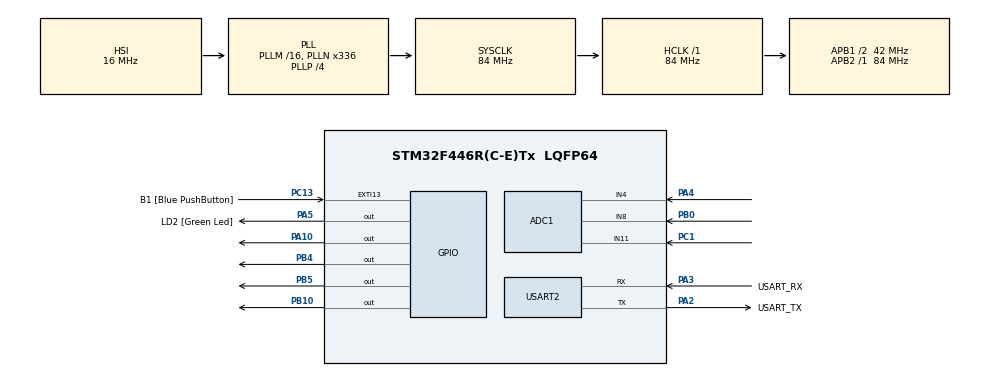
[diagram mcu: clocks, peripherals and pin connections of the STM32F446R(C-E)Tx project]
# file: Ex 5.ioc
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ADC1.Channel-0\#ChannelRegularConversion=ADC_CHANNEL_4
ADC1.Channel-1\#ChannelRegularConversion=ADC_CHANNEL_8
ADC1.Channel-2\#ChannelRegularConversion=ADC_CHANNEL_11
ADC1.EOCSelection=ADC_EOC_SEQ_CONV
ADC1.ExternalTrigConv=ADC_EXTERNALTRIGCONV_T2_TRGO
ADC1.NbrOfConversion=3
ADC1.NbrOfConversionFlag=1
ADC1.Rank-0\#ChannelRegularConversion=1
ADC1.Rank-1\#ChannelRegularConversion=2
ADC1.Rank-2\#ChannelRegularConversion=3
ADC1.SamplingTime-0\#ChannelRegularConversion=ADC_SAMPLETIME_15CYCLES
ADC1.SamplingTime-1\#ChannelRegularConversion=ADC_SAMPLETIME_15CYCLES
ADC1.SamplingTime-2\#ChannelRegularConversion=ADC_SAMPLETIME_15CYCLES
ADC1.ScanConvMode=ENABLE
ADC1.master=1
Dma.ADC1.0.Direction=DMA_PERIPH_TO_MEMORY
Dma.ADC1.0.FIFOMode=DMA_FIFOMODE_DISABLE
Dma.ADC1.0.Instance=DMA2_Stream0
Dma.ADC1.0.MemDataAlignment=DMA_MDATAALIGN_HALFWORD
Dma.ADC1.0.MemInc=DMA_MINC_ENABLE
Dma.ADC1.0.Mode=DMA_NORMAL
Dma.ADC1.0.PeriphDataAlignment=DMA_PDATAALIGN_HALFWORD
Dma.ADC1.0.PeriphInc=DMA_PINC_DISABLE
Dma.ADC1.0.Priority=DMA_PRIORITY_LOW
Dma.Request0=ADC1
Mcu.Family=STM32F4
Mcu.Name=STM32F446R(C-E)Tx
Mcu.Package=LQFP64
NVIC.DMA2_Stream0_IRQn=true\:0\:0\:false\:false\:true\:false\:true\:true
NVIC.PriorityGroup=NVIC_PRIORITYGROUP_0
NVIC.TIM2_IRQn=true\:0\:0\:false\:false\:true\:true\:true\:true
NVIC.USART2_IRQn=true\:0\:0\:false\:false\:true\:true\:true\:true
PA10.Signal=GPIO_Output
PA13.GPIO_Label=TMS
PA13.Mode=Serial_Wire
PA13.Signal=SYS_JTMS-SWDIO
PA14.GPIO_Label=TCK
PA14.Mode=Serial_Wire
PA14.Signal=SYS_JTCK-SWCLK
PA2.GPIO_Label=USART_TX
PA2.Mode=Asynchronous
PA2.Signal=USART2_TX
PA3.GPIO_Label=USART_RX
PA3.Mode=Asynchronous
PA3.Signal=USART2_RX
PA4.Signal=ADCx_IN4
PA5.GPIO_Label=LD2 [Green Led]
PA5.Signal=GPIO_Output
PB0.Signal=ADCx_IN8
PB10.Signal=GPIO_Output
PB3.GPIO_Label=SWO
PB3.Signal=SYS_JTDO-SWO
PB4.Signal=GPIO_Output
PB5.Signal=GPIO_Output
PC1.Signal=ADCx_IN11
PC13.GPIO_Label=B1 [Blue PushButton]
PC13.GPIO_ModeDefaultEXTI=GPIO_MODE_IT_FALLING
PC13.Signal=GPXTI13
PC14-OSC32_IN.Mode=LSE-External-Oscillator
PC14-OSC32_IN.Signal=RCC_OSC32_IN
PC15-OSC32_OUT.Mode=LSE-External-Oscillator
PC15-OSC32_OUT.Signal=RCC_OSC32_OUT
PH0-OSC_IN.Mode=HSE-External-Oscillator
PH0-OSC_IN.Signal=RCC_OSC_IN
PH1-OSC_OUT.Mode=HSE-External-Oscillator
PH1-OSC_OUT.Signal=RCC_OSC_OUT
ProjectManager.HeapSize=0x200
ProjectManager.StackSize=0x400
ProjectManager.TargetToolchain=STM32CubeIDE
RCC.48MHZClocksFreq_Value=84000000
RCC.AHBFreq_Value=84000000
RCC.APB1CLKDivider=RCC_HCLK_DIV2
RCC.APB1Freq_Value=42000000
RCC.APB1TimFreq_Value=84000000
RCC.APB2Freq_Value=84000000
RCC.APB2TimFreq_Value=84000000
RCC.CortexFreq_Value=84000000
RCC.FLatency-AdvancedSettings=FLASH_LATENCY_2
RCC.HCLKFreq_Value=84000000
RCC.HSE_VALUE=8000000
RCC.HSI_VALUE=16000000
RCC.PLLN=336
RCC.PLLP=RCC_PLLP_DIV4
RCC.SYSCLKFreq_VALUE=84000000
RCC.SYSCLKSource=RCC_SYSCLKSOURCE_PLLCLK
RCC.USBFreq_Value=168000000
RCC.VCOOutputFreq_Value=336000000
SH.ADCx_IN11.0=ADC1_IN11,IN11
SH.ADCx_IN4.0=ADC1_IN4,IN4
SH.ADCx_IN8.0=ADC1_IN8,IN8
TIM2.Period=1000000-1
TIM2.Prescaler=1.68-1
TIM2.TIM_MasterOutputTrigger=TIM_TRGO_UPDATE
USART2.VirtualMode=VM_ASYNC
VP_TIM2_VS_ClockSourceINT.Mode=Internal
board=NUCLEO-F446RE

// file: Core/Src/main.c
/* USER CODE BEGIN Header */
/**
  ******************************************************************************
  * @file           : main.c
  * @brief          : Main program body
  ******************************************************************************
  * @attention
  *
  * Copyright (c) 2025 STMicroelectronics.
  * All rights reserved.
  *
  * This software is licensed under terms that can be found in the LICENSE file
  * in the root directory of this software component.
  * If no LICENSE file comes with this software, it is provided AS-IS.
  *
  ******************************************************************************
  */
/* USER CODE END Header */
#include "main.h"
#include <stdio.h>
#include <string.h>

/* USER CODE BEGIN PD */
#define ADC_BUFFER_SIZE 3
/* USER CODE END PD */

ADC_HandleTypeDef hadc1;
DMA_HandleTypeDef hdma_adc1;

TIM_HandleTypeDef htim2;

UART_HandleTypeDef huart2;

/* USER CODE BEGIN PV */
uint16_t adc_buffer[ADC_BUFFER_SIZE];
float v_pot, v_IR1, v_IR2;
uint8_t adc_conversion_complete_flag = 0;
/* USER CODE END PV */

void SystemClock_Config(void);
static void MX_GPIO_Init(void);
static void MX_DMA_Init(void);
static void MX_USART2_UART_Init(void);
static void MX_ADC1_Init(void);
static void MX_TIM2_Init(void);

/* USER CODE BEGIN 0 */
uint8_t uart_tx_buffer[100];

void LED_POT()
{

	if(v_pot >= 0.8)
	{
		// if voltage > 0.8v  LED1 on
		GPIOB->ODR |= GPIO_PIN_10;

		if(v_pot >= 1.6)
		{
			// if voltage > 1.6v  LED2 on
			GPIOB->ODR |= GPIO_PIN_4;

			if(v_pot >= 2.4)
			{
				// if voltage > 2.4v  LED3 on
				GPIOB->ODR |= GPIO_PIN_5;

				if(v_pot >= 3.2)
				{
					// if voltage > 3.2v  LED4 on
					GPIOA->ODR |= GPIO_PIN_10;

//-------------- else corresponding led is off ----------------------//
				}else GPIOA->ODR &= ~GPIO_PIN_10;

			}else GPIOB->ODR &= ~GPIO_PIN_5;

		}else GPIOB->ODR &= ~GPIO_PIN_4;

	}else GPIOB->ODR &= ~GPIO_PIN_10;

	sprintf(uart_tx_buffer, "V1: %d, V2: %d, V3: %d\n",
			adc_buffer[0],adc_buffer[1],adc_buffer[2]);

	HAL_UART_Transmit(&huart2, uart_tx_buffer,
			strlen(uart_tx_buffer), HAL_MAX_DELAY);
}
/* USER CODE END 0 */

int main(void)
{

  /* MCU Configuration--------------------------------------------------------*/

  /* Reset of all peripherals, Initializes the Flash interface and the Systick. */
  HAL_Init();

  /* Configure the system clock */
  SystemClock_Config();

  /* Initialize all configured peripherals */
  MX_GPIO_Init();
  MX_DMA_Init();
  MX_USART2_UART_Init();
  MX_ADC1_Init();
  MX_TIM2_Init();
  /* USER CODE BEGIN 2 */
  HAL_ADC_Start_DMA(&hadc1, adc_buffer, ADC_BUFFER_SIZE);
  HAL_TIM_Base_Start(&htim2);
  /* USER CODE END 2 */

  /* Infinite loop */
  while (1)
  {

    /* USER CODE BEGIN 3 */
	if(adc_conversion_complete_flag == 1)
	{
	  adc_conversion_complete_flag = 0;
	  v_pot = (3.3/4095)*(float)adc_buffer[0];
	  v_IR1 = (3.3/4095)*(float)adc_buffer[1];
	  v_IR2 = (3.3/4095)*(float)adc_buffer[2];
	}
	LED_POT();
  }
  /* USER CODE END 3 */
}

void SystemClock_Config(void)
{
  RCC_OscInitTypeDef RCC_OscInitStruct = {0};
  RCC_ClkInitTypeDef RCC_ClkInitStruct = {0};

  /** Configure the main internal regulator output voltage
  */
  __HAL_RCC_PWR_CLK_ENABLE();
  __HAL_PWR_VOLTAGESCALING_CONFIG(PWR_REGULATOR_VOLTAGE_SCALE3);

  /** Initializes the RCC Oscillators according to the specified parameters
  * in the RCC_OscInitTypeDef structure.
  */
  RCC_OscInitStruct.OscillatorType = RCC_OSCILLATORTYPE_HSI;
  RCC_OscInitStruct.HSIState = RCC_HSI_ON;
  RCC_OscInitStruct.HSICalibrationValue = RCC_HSICALIBRATION_DEFAULT;
  RCC_OscInitStruct.PLL.PLLState = RCC_PLL_ON;
  RCC_OscInitStruct.PLL.PLLSource = RCC_PLLSOURCE_HSI;
  RCC_OscInitStruct.PLL.PLLM = 16;
  RCC_OscInitStruct.PLL.PLLN = 336;
  RCC_OscInitStruct.PLL.PLLP = RCC_PLLP_DIV4;
  RCC_OscInitStruct.PLL.PLLQ = 2;
  RCC_OscInitStruct.PLL.PLLR = 2;
  if (HAL_RCC_OscConfig(&RCC_OscInitStruct) != HAL_OK)
  {
    Error_Handler();
  }

  /** Initializes the CPU, AHB and APB buses clocks
  */
  RCC_ClkInitStruct.ClockType = RCC_CLOCKTYPE_HCLK|RCC_CLOCKTYPE_SYSCLK
                              |RCC_CLOCKTYPE_PCLK1|RCC_CLOCKTYPE_PCLK2;
  RCC_ClkInitStruct.SYSCLKSource = RCC_SYSCLKSOURCE_PLLCLK;
  RCC_ClkInitStruct.AHBCLKDivider = RCC_SYSCLK_DIV1;
  RCC_ClkInitStruct.APB1CLKDivider = RCC_HCLK_DIV2;
  RCC_ClkInitStruct.APB2CLKDivider = RCC_HCLK_DIV1;

  if (HAL_RCC_ClockConfig(&RCC_ClkInitStruct, FLASH_LATENCY_2) != HAL_OK)
  {
    Error_Handler();
  }
}

static void MX_ADC1_Init(void)
{

  ADC_ChannelConfTypeDef sConfig = {0};

  /** Configure the global features of the ADC (Clock, Resolution, Data Alignment and number of conversion)
  */
  hadc1.Instance = ADC1;
  hadc1.Init.ClockPrescaler = ADC_CLOCK_SYNC_PCLK_DIV4;
  hadc1.Init.Resolution = ADC_RESOLUTION_12B;
  hadc1.Init.ScanConvMode = ENABLE;
  hadc1.Init.ContinuousConvMode = DISABLE;
  hadc1.Init.DiscontinuousConvMode = DISABLE;
  hadc1.Init.ExternalTrigConvEdge = ADC_EXTERNALTRIGCONVEDGE_RISING;
  hadc1.Init.ExternalTrigConv = ADC_EXTERNALTRIGCONV_T2_TRGO;
  hadc1.Init.DataAlign = ADC_DATAALIGN_RIGHT;
  hadc1.Init.NbrOfConversion = 3;
  hadc1.Init.DMAContinuousRequests = DISABLE;
  hadc1.Init.EOCSelection = ADC_EOC_SEQ_CONV;
  if (HAL_ADC_Init(&hadc1) != HAL_OK)
  {
    Error_Handler();
  }

  /** Configure for the selected ADC regular channel its corresponding rank in the sequencer and its sample time.
  */
  sConfig.Channel = ADC_CHANNEL_4;
  sConfig.Rank = 1;
  sConfig.SamplingTime = ADC_SAMPLETIME_15CYCLES;
  if (HAL_ADC_ConfigChannel(&hadc1, &sConfig) != HAL_OK)
  {
    Error_Handler();
  }

  /** Configure for the selected ADC regular channel its corresponding rank in the sequencer and its sample time.
  */
  sConfig.Channel = ADC_CHANNEL_8;
  sConfig.Rank = 2;
  if (HAL_ADC_ConfigChannel(&hadc1, &sConfig) != HAL_OK)
  {
    Error_Handler();
  }

  /** Configure for the selected ADC regular channel its corresponding rank in the sequencer and its sample time.
  */
  sConfig.Channel = ADC_CHANNEL_11;
  sConfig.Rank = 3;
  if (HAL_ADC_ConfigChannel(&hadc1, &sConfig) != HAL_OK)
  {
    Error_Handler();
  }

}

static void MX_TIM2_Init(void)
{

  TIM_ClockConfigTypeDef sClockSourceConfig = {0};
  TIM_MasterConfigTypeDef sMasterConfig = {0};

  htim2.Instance = TIM2;
  htim2.Init.Prescaler = 1.68-1;
  htim2.Init.CounterMode = TIM_COUNTERMODE_UP;
  htim2.Init.Period = 1000000-1;
  htim2.Init.ClockDivision = TIM_CLOCKDIVISION_DIV1;
  htim2.Init.AutoReloadPreload = TIM_AUTORELOAD_PRELOAD_DISABLE;
  if (HAL_TIM_Base_Init(&htim2) != HAL_OK)
  {
    Error_Handler();
  }
  sClockSourceConfig.ClockSource = TIM_CLOCKSOURCE_INTERNAL;
  if (HAL_TIM_ConfigClockSource(&htim2, &sClockSourceConfig) != HAL_OK)
  {
    Error_Handler();
  }
  sMasterConfig.MasterOutputTrigger = TIM_TRGO_UPDATE;
  sMasterConfig.MasterSlaveMode = TIM_MASTERSLAVEMODE_DISABLE;
  if (HAL_TIMEx_MasterConfigSynchronization(&htim2, &sMasterConfig) != HAL_OK)
  {
    Error_Handler();
  }

}

static void MX_USART2_UART_Init(void)
{

  huart2.Instance = USART2;
  huart2.Init.BaudRate = 115200;
  huart2.Init.WordLength = UART_WORDLENGTH_8B;
  huart2.Init.StopBits = UART_STOPBITS_1;
  huart2.Init.Parity = UART_PARITY_NONE;
  huart2.Init.Mode = UART_MODE_TX_RX;
  huart2.Init.HwFlowCtl = UART_HWCONTROL_NONE;
  huart2.Init.OverSampling = UART_OVERSAMPLING_16;
  if (HAL_UART_Init(&huart2) != HAL_OK)
  {
    Error_Handler();
  }

}

static void MX_DMA_Init(void)
{

  /* DMA controller clock enable */
  __HAL_RCC_DMA2_CLK_ENABLE();

  /* DMA interrupt init */
  /* DMA2_Stream0_IRQn interrupt configuration */
  HAL_NVIC_SetPriority(DMA2_Stream0_IRQn, 0, 0);
  HAL_NVIC_EnableIRQ(DMA2_Stream0_IRQn);

}

static void MX_GPIO_Init(void)
{
  GPIO_InitTypeDef GPIO_InitStruct = {0};

  /* GPIO Ports Clock Enable */
  __HAL_RCC_GPIOC_CLK_ENABLE();
  __HAL_RCC_GPIOH_CLK_ENABLE();
  __HAL_RCC_GPIOA_CLK_ENABLE();
  __HAL_RCC_GPIOB_CLK_ENABLE();

  /*Configure GPIO pin Output Level */
  HAL_GPIO_WritePin(GPIOA, LD2_Pin|GPIO_PIN_10, GPIO_PIN_RESET);

  /*Configure GPIO pin Output Level */
  HAL_GPIO_WritePin(GPIOB, GPIO_PIN_10|GPIO_PIN_4|GPIO_PIN_5, GPIO_PIN_RESET);

  /*Configure GPIO pin : B1_Pin */
  GPIO_InitStruct.Pin = B1_Pin;
  GPIO_InitStruct.Mode = GPIO_MODE_IT_FALLING;
  GPIO_InitStruct.Pull = GPIO_NOPULL;
  HAL_GPIO_Init(B1_GPIO_Port, &GPIO_InitStruct);

  /*Configure GPIO pins : LD2_Pin PA10 */
  GPIO_InitStruct.Pin = LD2_Pin|GPIO_PIN_10;
  GPIO_InitStruct.Mode = GPIO_MODE_OUTPUT_PP;
  GPIO_InitStruct.Pull = GPIO_NOPULL;
  GPIO_InitStruct.Speed = GPIO_SPEED_FREQ_LOW;
  HAL_GPIO_Init(GPIOA, &GPIO_InitStruct);

  /*Configure GPIO pins : PB10 PB4 PB5 */
  GPIO_InitStruct.Pin = GPIO_PIN_10|GPIO_PIN_4|GPIO_PIN_5;
  GPIO_InitStruct.Mode = GPIO_MODE_OUTPUT_PP;
  GPIO_InitStruct.Pull = GPIO_NOPULL;
  GPIO_InitStruct.Speed = GPIO_SPEED_FREQ_LOW;
  HAL_GPIO_Init(GPIOB, &GPIO_InitStruct);

}

/* USER CODE BEGIN 4 */
void HAL_ADC_ConvCpltCallback(ADC_HandleTypeDef *hadc)
{
	adc_conversion_complete_flag = 1;
	HAL_ADC_Start_DMA(&hadc1, adc_buffer, ADC_BUFFER_SIZE);
}

/* USER CODE END 4 */

void Error_Handler(void)
{
  __disable_irq();
  while (1)
  {
  }
}
